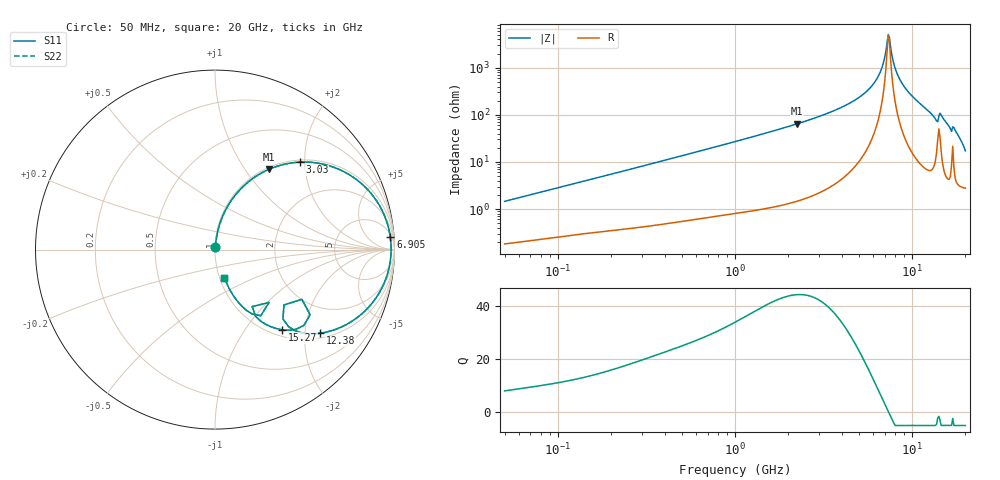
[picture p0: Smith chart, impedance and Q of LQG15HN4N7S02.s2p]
!Murata Part Number: LQG15HN4N7S02
!These Parameters are Measured in Series Mode Connection
!  o--[Z]--o
!Port1  Port2
!  o-------o
!Freq. Start=50[MHz] Stop=20[GHz], 401[Steps]
# Hz S RI R 50
!Freq.(Hz) S11(Real) S11(Imag) S21(Real) S21(Imag) S12(Real) S12(Imag) S22(Real) S22(Imag)
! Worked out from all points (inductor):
!   401 points, 50 MHz to 20 GHz, reference 50 ohm
!   read as one part in series: L = 4.55 nH near 51.52 MHz
!   highest Q = 44.1 at 2.245 GHz (marker M1), where L = 4.58 nH
!   self-resonance near 7.331 GHz
!   S11 on the Smith chart (normalised r, x): 50 MHz: 1.00, +0.03; 3.03 GHz: 1.05, +1.89; 6.905 GHz: 7, +26; 12.38 GHz: 1.13, -2.40; 15.27 GHz: 1.12, -1.51; 20 GHz: 1.06, -0.34
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5e7  0.00202 0.0144  0.998 -0.0144  0.998 -0.0144  0.00202 0.0144
1.364002e8  0.00436 0.0376  0.9956 -0.0376  0.9956 -0.0376  0.00436 0.0376
3.721004e8  0.0145 0.0988  0.9855 -0.0988  0.9855 -0.0988  0.0145 0.0988
1e9  0.0743 0.2479  0.9257 -0.2479  0.9257 -0.2479  0.0743 0.2479
2.245319e9  0.299 0.4466  0.701 -0.4466  0.701 -0.4466  0.299 0.4466
2.728004e9  0.4052 0.4795  0.5948 -0.4795  0.5948 -0.4795  0.4052 0.4795
3.029571e9  0.472 0.4874  0.528 -0.4874  0.528 -0.4874  0.472 0.4874
4.212059e9  0.7113 0.4376  0.2887 -0.4376  0.2887 -0.4376  0.7113 0.4376
5.352748e9  0.8763 0.3045  0.1237 -0.3045  0.1237 -0.3045  0.8763 0.3045
6.311513e9  0.9547 0.1622  0.0453 -0.1622  0.0453 -0.1622  0.9547 0.1622
6.905011e9  0.9768 0.0704  0.0232 -0.0704  0.0232 -0.0704  0.9768 0.0704
7.222371e9  0.9812 0.0218  0.0188 -0.0218  0.0188 -0.0218  0.9812 0.0218
7.442007e9  0.9813 -0.0112  0.0187 0.0112  0.0187 0.0112  0.9813 -0.0112
8.020766e9  0.9713 -0.0952  0.0287 0.0952  0.0287 0.0952  0.9713 -0.0952
8.774992e9  0.9386 -0.1954  0.0614 0.1954  0.0614 0.1954  0.9386 -0.1954
1.004137e10  0.8444 -0.3329  0.1556 0.3329  0.1556 0.3329  0.8444 -0.3329
1.238412e10  0.5863 -0.4657  0.4137 0.4657  0.4137 0.4657  0.5863 -0.4657
1.396067e10  0.3842 -0.3085  0.6158 0.3085  0.6158 0.3085  0.3842 -0.3085
1.460232e10  0.4946 -0.4225  0.5054 0.4225  0.5054 0.4225  0.4946 -0.4225
1.527346e10  0.3749 -0.4473  0.6251 0.4473  0.6251 0.4473  0.3749 -0.4473
1.774144e10  0.1769 -0.3396  0.8231 0.3396  0.8231 0.3396  0.1769 -0.3396
2e10  0.0528 -0.1565  0.9472 0.1565  0.9472 0.1565  0.0528 -0.1565
